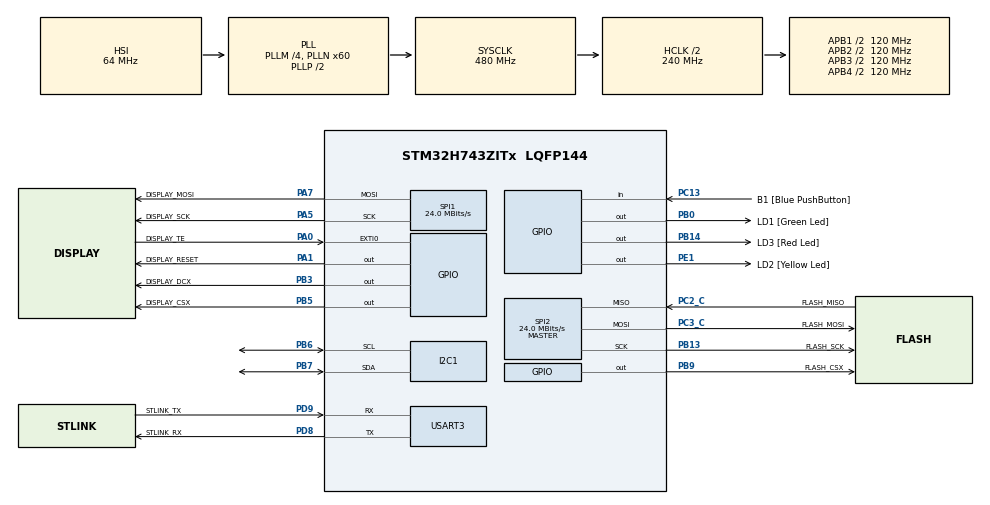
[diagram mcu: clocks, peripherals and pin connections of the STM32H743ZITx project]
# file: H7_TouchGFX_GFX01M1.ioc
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CORTEX_M7.CPU_ICache=Enabled
Dma.Request0=SPI1_TX
Dma.Request1=SPI2_RX
Dma.Request2=SPI2_TX
Dma.Request3=USART3_TX
Dma.SPI1_TX.0.Direction=DMA_MEMORY_TO_PERIPH
Dma.SPI1_TX.0.EventEnable=DISABLE
Dma.SPI1_TX.0.FIFOMode=DMA_FIFOMODE_DISABLE
Dma.SPI1_TX.0.Instance=DMA1_Stream0
Dma.SPI1_TX.0.MemDataAlignment=DMA_MDATAALIGN_HALFWORD
Dma.SPI1_TX.0.MemInc=DMA_MINC_ENABLE
Dma.SPI1_TX.0.Mode=DMA_NORMAL
Dma.SPI1_TX.0.PeriphDataAlignment=DMA_PDATAALIGN_HALFWORD
Dma.SPI1_TX.0.PeriphInc=DMA_PINC_DISABLE
Dma.SPI1_TX.0.Polarity=HAL_DMAMUX_REQ_GEN_RISING
Dma.SPI1_TX.0.Priority=DMA_PRIORITY_LOW
Dma.SPI1_TX.0.RequestNumber=1
Dma.SPI1_TX.0.SignalID=NONE
Dma.SPI1_TX.0.SyncEnable=DISABLE
Dma.SPI1_TX.0.SyncPolarity=HAL_DMAMUX_SYNC_NO_EVENT
Dma.SPI1_TX.0.SyncRequestNumber=1
Dma.SPI1_TX.0.SyncSignalID=NONE
Dma.SPI2_RX.1.Direction=DMA_PERIPH_TO_MEMORY
Dma.SPI2_RX.1.EventEnable=DISABLE
Dma.SPI2_RX.1.FIFOMode=DMA_FIFOMODE_DISABLE
Dma.SPI2_RX.1.Instance=DMA1_Stream1
Dma.SPI2_RX.1.MemDataAlignment=DMA_MDATAALIGN_BYTE
Dma.SPI2_RX.1.MemInc=DMA_MINC_ENABLE
Dma.SPI2_RX.1.Mode=DMA_NORMAL
Dma.SPI2_RX.1.PeriphDataAlignment=DMA_PDATAALIGN_BYTE
Dma.SPI2_RX.1.PeriphInc=DMA_PINC_DISABLE
Dma.SPI2_RX.1.Polarity=HAL_DMAMUX_REQ_GEN_RISING
Dma.SPI2_RX.1.Priority=DMA_PRIORITY_LOW
Dma.SPI2_RX.1.RequestNumber=1
Dma.SPI2_RX.1.SignalID=NONE
Dma.SPI2_RX.1.SyncEnable=DISABLE
Dma.SPI2_RX.1.SyncPolarity=HAL_DMAMUX_SYNC_NO_EVENT
Dma.SPI2_RX.1.SyncRequestNumber=1
Dma.SPI2_RX.1.SyncSignalID=NONE
Dma.SPI2_TX.2.Direction=DMA_MEMORY_TO_PERIPH
Dma.SPI2_TX.2.EventEnable=DISABLE
Dma.SPI2_TX.2.FIFOMode=DMA_FIFOMODE_DISABLE
Dma.SPI2_TX.2.Instance=DMA1_Stream2
Dma.SPI2_TX.2.MemDataAlignment=DMA_MDATAALIGN_BYTE
Dma.SPI2_TX.2.MemInc=DMA_MINC_ENABLE
Dma.SPI2_TX.2.Mode=DMA_NORMAL
Dma.SPI2_TX.2.PeriphDataAlignment=DMA_PDATAALIGN_BYTE
Dma.SPI2_TX.2.PeriphInc=DMA_PINC_DISABLE
Dma.SPI2_TX.2.Polarity=HAL_DMAMUX_REQ_GEN_RISING
Dma.SPI2_TX.2.Priority=DMA_PRIORITY_LOW
Dma.SPI2_TX.2.RequestNumber=1
Dma.SPI2_TX.2.SignalID=NONE
Dma.SPI2_TX.2.SyncEnable=DISABLE
Dma.SPI2_TX.2.SyncPolarity=HAL_DMAMUX_SYNC_NO_EVENT
Dma.SPI2_TX.2.SyncRequestNumber=1
Dma.SPI2_TX.2.SyncSignalID=NONE
Dma.USART3_TX.3.Direction=DMA_MEMORY_TO_PERIPH
Dma.USART3_TX.3.EventEnable=DISABLE
Dma.USART3_TX.3.FIFOMode=DMA_FIFOMODE_DISABLE
Dma.USART3_TX.3.Instance=DMA1_Stream3
Dma.USART3_TX.3.MemDataAlignment=DMA_MDATAALIGN_BYTE
Dma.USART3_TX.3.MemInc=DMA_MINC_ENABLE
Dma.USART3_TX.3.Mode=DMA_NORMAL
Dma.USART3_TX.3.PeriphDataAlignment=DMA_PDATAALIGN_BYTE
Dma.USART3_TX.3.PeriphInc=DMA_PINC_DISABLE
Dma.USART3_TX.3.Polarity=HAL_DMAMUX_REQ_GEN_RISING
Dma.USART3_TX.3.Priority=DMA_PRIORITY_LOW
Dma.USART3_TX.3.RequestNumber=1
Dma.USART3_TX.3.SignalID=NONE
Dma.USART3_TX.3.SyncEnable=DISABLE
Dma.USART3_TX.3.SyncPolarity=HAL_DMAMUX_SYNC_NO_EVENT
Dma.USART3_TX.3.SyncRequestNumber=1
Dma.USART3_TX.3.SyncSignalID=NONE
I2C1.Timing=0x307075B1
Mcu.Family=STM32H7
Mcu.Name=STM32H743ZITx
Mcu.Package=LQFP144
NVIC.DMA1_Stream0_IRQn=true\:0\:0\:false\:false\:true\:false\:true\:true
NVIC.DMA1_Stream1_IRQn=true\:0\:0\:false\:false\:true\:false\:true\:true
NVIC.DMA1_Stream2_IRQn=true\:0\:0\:false\:false\:true\:false\:true\:true
NVIC.DMA1_Stream3_IRQn=true\:0\:0\:false\:false\:true\:false\:true\:true
NVIC.EXTI0_IRQn=true\:0\:0\:false\:false\:true\:true\:true\:true
NVIC.I2C1_EV_IRQn=true\:0\:0\:false\:false\:true\:true\:true\:true
NVIC.PriorityGroup=NVIC_PRIORITYGROUP_4
NVIC.SPI1_IRQn=true\:0\:0\:false\:false\:true\:true\:true\:true
NVIC.SPI2_IRQn=true\:0\:0\:false\:false\:true\:true\:true\:true
NVIC.TIM6_DAC_IRQn=true\:0\:0\:false\:false\:true\:true\:true\:true
PA0.GPIO_Label=DISPLAY_TE
PA0.Signal=GPXTI0
PA1.GPIO_Label=DISPLAY_RESET
PA1.GPIO_PuPd=GPIO_PULLUP
PA1.GPIO_Speed=GPIO_SPEED_FREQ_VERY_HIGH
PA1.Signal=GPIO_Output
PA13\ (JTMS/SWDIO).Mode=Serial_Wire
PA13\ (JTMS/SWDIO).Signal=DEBUG_JTMS-SWDIO
PA14\ (JTCK/SWCLK).Mode=Serial_Wire
PA14\ (JTCK/SWCLK).Signal=DEBUG_JTCK-SWCLK
PA5.GPIO_Label=DISPLAY_SCK
PA5.GPIO_PuPd=GPIO_PULLDOWN
PA5.GPIO_Speed=GPIO_SPEED_FREQ_VERY_HIGH
PA5.Mode=TX_Only_Simplex_Unidirect_Master
PA5.Signal=SPI1_SCK
PA6.GPIO_Label=DISPLAY_MISO
PA6.GPIO_Speed=GPIO_SPEED_FREQ_VERY_HIGH
PA6.Signal=SPI1_MISO
PA7.GPIO_Label=DISPLAY_MOSI
PA7.GPIO_PuPd=GPIO_PULLDOWN
PA7.GPIO_Speed=GPIO_SPEED_FREQ_VERY_HIGH
PA7.Mode=TX_Only_Simplex_Unidirect_Master
PA7.Signal=SPI1_MOSI
PB0.GPIO_Label=LD1 [Green Led]
PB0.GPIO_Speed=GPIO_SPEED_FREQ_VERY_HIGH
PB0.Signal=GPIO_Output
PB13.GPIO_Label=FLASH_SCK
PB13.GPIO_PuPd=GPIO_PULLDOWN
PB13.GPIO_Speed=GPIO_SPEED_FREQ_VERY_HIGH
PB13.Mode=Full_Duplex_Master
PB13.Signal=SPI2_SCK
PB14.GPIO_Label=LD3 [Red Led]
PB14.GPIO_Speed=GPIO_SPEED_FREQ_VERY_HIGH
PB14.Signal=GPIO_Output
PB3\ (JTDO/TRACESWO).GPIO_Label=DISPLAY_DCX
PB3\ (JTDO/TRACESWO).GPIO_PuPd=GPIO_PULLUP
PB3\ (JTDO/TRACESWO).GPIO_Speed=GPIO_SPEED_FREQ_VERY_HIGH
PB3\ (JTDO/TRACESWO).PinState=GPIO_PIN_SET
PB3\ (JTDO/TRACESWO).Signal=GPIO_Output
PB5.GPIO_Label=DISPLAY_CSX
PB5.GPIO_PuPd=GPIO_PULLUP
PB5.GPIO_Speed=GPIO_SPEED_FREQ_VERY_HIGH
PB5.PinState=GPIO_PIN_SET
PB5.Signal=GPIO_Output
PB6.Mode=I2C
PB6.Signal=I2C1_SCL
PB7.Mode=I2C
PB7.Signal=I2C1_SDA
PB9.GPIO_FM9=SYSCFG_PMCR_I2C_PB9_FMP
PB9.GPIO_Label=FLASH_CSX
PB9.GPIO_Speed=GPIO_SPEED_FREQ_VERY_HIGH
PB9.PinState=GPIO_PIN_SET
PB9.Signal=GPIO_Output
PC13.GPIO_Label=B1 [Blue PushButton]
PC13.Signal=GPIO_Input
PC14-OSC32_IN\ (OSC32_IN).Mode=LSE-External-Oscillator
PC14-OSC32_IN\ (OSC32_IN).Signal=RCC_OSC32_IN
PC15-OSC32_OUT\ (OSC32_OUT).Mode=LSE-External-Oscillator
PC15-OSC32_OUT\ (OSC32_OUT).Signal=RCC_OSC32_OUT
PC2_C.GPIO_Label=FLASH_MISO
PC2_C.GPIO_PuPd=GPIO_PULLDOWN
PC2_C.GPIO_Speed=GPIO_SPEED_FREQ_VERY_HIGH
PC2_C.Mode=Full_Duplex_Master
PC2_C.Signal=SPI2_MISO
PC3_C.GPIO_Label=FLASH_MOSI
PC3_C.GPIO_PuPd=GPIO_PULLDOWN
PC3_C.GPIO_Speed=GPIO_SPEED_FREQ_VERY_HIGH
PC3_C.Mode=Full_Duplex_Master
PC3_C.Signal=SPI2_MOSI
PD8.GPIO_Label=STLINK_RX
PD8.Mode=Asynchronous
PD8.Signal=USART3_TX
PD9.GPIO_Label=STLINK_TX
PD9.Mode=Asynchronous
PD9.Signal=USART3_RX
PE1.GPIO_Label=LD2 [Yellow Led]
PE1.GPIO_Speed=GPIO_SPEED_FREQ_VERY_HIGH
PE1.Signal=GPIO_Output
PH0-OSC_IN\ (PH0).Mode=HSE-External-Clock-Source
PH0-OSC_IN\ (PH0).Signal=RCC_OSC_IN
PH1-OSC_OUT\ (PH1).Signal=RCC_OSC_OUT
ProjectManager.HeapSize=0x1000
ProjectManager.StackSize=0x2000
ProjectManager.TargetToolchain=STM32CubeIDE
RCC.ADCFreq_Value=129000000
RCC.APB1Freq_Value=120000000
RCC.APB2Freq_Value=120000000
RCC.APB3Freq_Value=120000000
RCC.APB4Freq_Value=120000000
RCC.CortexFreq_Value=480000000
RCC.D1PPRE=RCC_APB3_DIV2
RCC.D2PPRE1=RCC_APB1_DIV2
RCC.D2PPRE2=RCC_APB2_DIV2
RCC.D3PPRE=RCC_APB4_DIV2
RCC.DIVM1=4
RCC.DIVN1=60
RCC.DIVQ1=5
RCC.HCLKFreq_Value=240000000
RCC.HPRE=RCC_HCLK_DIV2
RCC.HSE_VALUE=8000000
RCC.PLL2FRACN=0
RCC.PLL3FRACN=0
RCC.PLLFRACN=0
RCC.PWR_Regulator_Voltage_Scale=PWR_REGULATOR_VOLTAGE_SCALE0
RCC.ProductRev=revV
RCC.SYSCLKFreq_VALUE=480000000
RCC.SYSCLKSource=RCC_SYSCLKSOURCE_PLLCLK
RCC.USBFreq_Value=192000000
RTC.Date=6
RTC.Hours=22
RTC.Minutes=12
RTC.Year=23
SPI1.BaudRatePrescaler=SPI_BAUDRATEPRESCALER_8
SPI1.CalculateBaudRate=24.0 MBits/s
SPI1.DataSize=SPI_DATASIZE_8BIT
SPI1.Direction=SPI_DIRECTION_2LINES_TXONLY
SPI1.Mode=SPI_MODE_MASTER
SPI1.NSSPMode=SPI_NSS_PULSE_DISABLE
SPI1.VirtualType=VM_MASTER
SPI2.BaudRatePrescaler=SPI_BAUDRATEPRESCALER_8
SPI2.CalculateBaudRate=24.0 MBits/s
SPI2.DataSize=SPI_DATASIZE_8BIT
SPI2.Direction=SPI_DIRECTION_2LINES
SPI2.Mode=SPI_MODE_MASTER
SPI2.NSSPMode=SPI_NSS_PULSE_DISABLE
SPI2.VirtualType=VM_MASTER
STMicroelectronics.X-CUBE-TOUCHGFX.4.20.0.ApplicationCcGraphicsJjApplication=TouchGFXOoGenerator
STMicroelectronics.X-CUBE-TOUCHGFX.4.20.0.tgfx_buffering_strategy=Partial
STMicroelectronics.X-CUBE-TOUCHGFX.4.20.0.tgfx_custom_height=320
STMicroelectronics.X-CUBE-TOUCHGFX.4.20.0.tgfx_custom_width=240
STMicroelectronics.X-CUBE-TOUCHGFX.4.20.0.tgfx_datareader=Disabled
STMicroelectronics.X-CUBE-TOUCHGFX.4.20.0.tgfx_number_of_blocks=3
STMicroelectronics.X-CUBE-TOUCHGFX.4.20.0.tgfx_partialfb_transmit_strategy=Enabled
STMicroelectronics.X-CUBE-TOUCHGFX.4.20.0_IsPackSelfContextualization=true
TIM6.Period=0xFFFF
TIM6.Prescaler=4726 - 1
TIM6.TIM_MasterOutputTrigger=TIM_TRGO_ENABLE
USART3.VirtualMode-Asynchronous=VM_ASYNC
VP_CRC_VS_CRC.Mode=CRC_Activate
VP_RTC_VS_RTC_Activate.Mode=RTC_Enabled
VP_RTC_VS_RTC_Calendar.Mode=RTC_Calendar
VP_STMicroelectronics.X-CUBE-TOUCHGFX_VS_GraphicsJjApplication_4.20.0.Mode=GraphicsJjApplication
VP_TIM6_VS_ClockSourceINT.Mode=Enable_Timer
board=NUCLEO-H743ZI2

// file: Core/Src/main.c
/* USER CODE BEGIN Header */
/**
  ******************************************************************************
  * @file           : main.c
  * @brief          : Main program body
  ******************************************************************************
  * @attention
  *
  * Copyright (c) 2022 STMicroelectronics.
  * All rights reserved.
  *
  * This software is licensed under terms that can be found in the LICENSE file
  * in the root directory of this software component.
  * If no LICENSE file comes with this software, it is provided AS-IS.
  *
  ******************************************************************************
  */
/* USER CODE END Header */
#include "main.h"
#include "crc.h"
#include "dma.h"
#include "i2c.h"
#include "rtc.h"
#include "spi.h"
#include "tim.h"
#include "usart.h"
#include "gpio.h"
#include "app_touchgfx.h"

/* USER CODE BEGIN Includes */
#include "stdio.h"
#include "string.h"
#include "MB1642BDisplayDriver.h"
#include "mpu6050.h"
/* USER CODE END Includes */

/* USER CODE BEGIN PD */
#define PUTCHAR_PRINTF	int __io_putchar(int ch)
/* USER CODE END PD */

void SystemClock_Config(void);

/* USER CODE BEGIN 0 */
MPU6050_t mpu6050;
char dataOut[70] = {0};
/* USER CODE END 0 */

int main(void)
{

  /* Enable I-Cache---------------------------------------------------------*/
  SCB_EnableICache();

  /* MCU Configuration--------------------------------------------------------*/

  /* Reset of all peripherals, Initializes the Flash interface and the Systick. */
  HAL_Init();

  /* Configure the system clock */
  SystemClock_Config();

  /* Initialize all configured peripherals */
  MX_GPIO_Init();
  MX_SPI1_Init();
  MX_SPI2_Init();
  MX_USART3_UART_Init();
  MX_CRC_Init();
  MX_DMA_Init();
  MX_TIM6_Init();
  MX_I2C1_Init();
  MX_RTC_Init();
  MX_TouchGFX_Init();
  /* USER CODE BEGIN 2 */
//  printf_log("------TouchGFX Workshop------", LOG_INFO);
//  printf_log("-----------------------------", LOG_WARN);
//  printf_log("Initializing Display Driver...", LOG_INFO);
//
//  MB1642BDisplayDriver_Init();
//  MB1642BDisplayDriver_DisplayReset();
//  MB1642BDisplayDriver_DisplayInit();
//  MB1642BDisplayDriver_DisplayOn();
//  test();
//  while(MPU6050_Init(&hi2c1) == 1);
//  printf_log("MPU6050 Initialized successfully...", LOG_INFO);

  /* USER CODE END 2 */

  /* Infinite loop */
  /* USER CODE BEGIN WHILE */
  while (1)
  {
//	MPU6050_Read_All(&hi2c1, &mpu6050);
//
//    sprintf( dataOut, "\tACC_X: %f, ACC_Y: %f, ACC_Z: %f", \
//  		  mpu6050.Ax, \
//		  mpu6050.Ay, \
//		  mpu6050.Az);
//    printf_log(dataOut, LOG_INFO);
//
//    sprintf( dataOut, "\tGYR_X: %f, GYR_Y: %f, GYR_Z: %f\n", \
//  		  mpu6050.Gx, \
//		  mpu6050.Gy, \
//		  mpu6050.Gz);
//    printf_log(dataOut, LOG_INFO);
//
//	HAL_Delay (100);
    /* USER CODE END WHILE */

  MX_TouchGFX_Process();
  }
}

void SystemClock_Config(void)
{
  RCC_OscInitTypeDef RCC_OscInitStruct = {0};
  RCC_ClkInitTypeDef RCC_ClkInitStruct = {0};

  /** Supply configuration update enable
  */
  HAL_PWREx_ConfigSupply(PWR_LDO_SUPPLY);

  /** Configure the main internal regulator output voltage
  */
  __HAL_PWR_VOLTAGESCALING_CONFIG(PWR_REGULATOR_VOLTAGE_SCALE1);

  while(!__HAL_PWR_GET_FLAG(PWR_FLAG_VOSRDY)) {}

  __HAL_RCC_SYSCFG_CLK_ENABLE();
  __HAL_PWR_VOLTAGESCALING_CONFIG(PWR_REGULATOR_VOLTAGE_SCALE0);

  while(!__HAL_PWR_GET_FLAG(PWR_FLAG_VOSRDY)) {}

  /** Initializes the RCC Oscillators according to the specified parameters
  * in the RCC_OscInitTypeDef structure.
  */
  RCC_OscInitStruct.OscillatorType = RCC_OSCILLATORTYPE_HSI|RCC_OSCILLATORTYPE_LSI;
  RCC_OscInitStruct.HSIState = RCC_HSI_DIV1;
  RCC_OscInitStruct.HSICalibrationValue = RCC_HSICALIBRATION_DEFAULT;
  RCC_OscInitStruct.LSIState = RCC_LSI_ON;
  RCC_OscInitStruct.PLL.PLLState = RCC_PLL_ON;
  RCC_OscInitStruct.PLL.PLLSource = RCC_PLLSOURCE_HSI;
  RCC_OscInitStruct.PLL.PLLM = 4;
  RCC_OscInitStruct.PLL.PLLN = 60;
  RCC_OscInitStruct.PLL.PLLP = 2;
  RCC_OscInitStruct.PLL.PLLQ = 5;
  RCC_OscInitStruct.PLL.PLLR = 2;
  RCC_OscInitStruct.PLL.PLLRGE = RCC_PLL1VCIRANGE_3;
  RCC_OscInitStruct.PLL.PLLVCOSEL = RCC_PLL1VCOWIDE;
  RCC_OscInitStruct.PLL.PLLFRACN = 0;
  if (HAL_RCC_OscConfig(&RCC_OscInitStruct) != HAL_OK)
  {
    Error_Handler();
  }

  /** Initializes the CPU, AHB and APB buses clocks
  */
  RCC_ClkInitStruct.ClockType = RCC_CLOCKTYPE_HCLK|RCC_CLOCKTYPE_SYSCLK
                              |RCC_CLOCKTYPE_PCLK1|RCC_CLOCKTYPE_PCLK2
                              |RCC_CLOCKTYPE_D3PCLK1|RCC_CLOCKTYPE_D1PCLK1;
  RCC_ClkInitStruct.SYSCLKSource = RCC_SYSCLKSOURCE_PLLCLK;
  RCC_ClkInitStruct.SYSCLKDivider = RCC_SYSCLK_DIV1;
  RCC_ClkInitStruct.AHBCLKDivider = RCC_HCLK_DIV2;
  RCC_ClkInitStruct.APB3CLKDivider = RCC_APB3_DIV2;
  RCC_ClkInitStruct.APB1CLKDivider = RCC_APB1_DIV2;
  RCC_ClkInitStruct.APB2CLKDivider = RCC_APB2_DIV2;
  RCC_ClkInitStruct.APB4CLKDivider = RCC_APB4_DIV2;

  if (HAL_RCC_ClockConfig(&RCC_ClkInitStruct, FLASH_LATENCY_4) != HAL_OK)
  {
    Error_Handler();
  }
}

/* USER CODE BEGIN 4 */
PUTCHAR_PRINTF
{
	HAL_UART_Transmit(&huart3, (uint8_t *)&ch, 1, 0xFFFF);
	return ch;
}

/**
 * @brief: printf_log
 */
void printf_log(char* data, log_type_t logName)
{
	printf("\033[0m");
	switch(logName) {
	case LOG_INFO:
		printf("\033[1;32m");
		printf("Info\t:%s\n", data);
		break;
	case LOG_WARN:
		printf("\033[1;33m");
		printf("Warning\t:%s\n", data);
		break;
	case LOG_ERROR:
		printf("\033[1;31m");
		printf("Error\t:%s\n", data);
		break;
	}
}

/* USER CODE END 4 */

void Error_Handler(void)
{
  __disable_irq();
  while (1)
  {
  }
}
